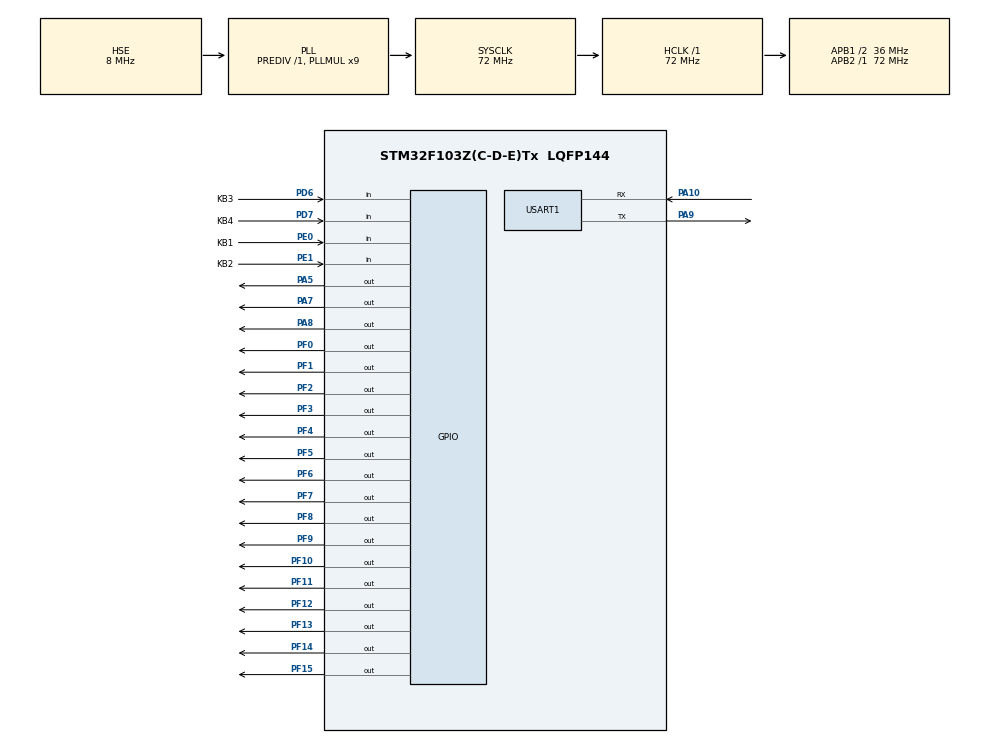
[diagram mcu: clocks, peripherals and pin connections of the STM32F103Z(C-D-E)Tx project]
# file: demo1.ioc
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Mcu.Family=STM32F1
Mcu.Name=STM32F103Z(C-D-E)Tx
Mcu.Package=LQFP144
NVIC.PriorityGroup=NVIC_PRIORITYGROUP_4
NVIC.TIM3_IRQn=true\:0\:0\:false\:false\:true\:true\:true\:true
NVIC.USART1_IRQn=true\:0\:0\:false\:false\:true\:true\:true\:true
OSC_IN.Mode=HSE-External-Oscillator
OSC_IN.Signal=RCC_OSC_IN
OSC_OUT.Mode=HSE-External-Oscillator
OSC_OUT.Signal=RCC_OSC_OUT
PA10.Mode=Asynchronous
PA10.Signal=USART1_RX
PA13.Mode=Serial_Wire
PA13.Signal=SYS_JTMS-SWDIO
PA14.Mode=Serial_Wire
PA14.Signal=SYS_JTCK-SWCLK
PA5.Signal=GPIO_Output
PA7.Signal=GPIO_Output
PA8.Signal=GPIO_Output
PA9.Mode=Asynchronous
PA9.Signal=USART1_TX
PD6.GPIO_Label=KB3
PD6.GPIO_PuPd=GPIO_PULLUP
PD6.Signal=GPIO_Input
PD7.GPIO_Label=KB4
PD7.GPIO_PuPd=GPIO_PULLUP
PD7.Signal=GPIO_Input
PE0.GPIO_Label=KB1
PE0.GPIO_PuPd=GPIO_PULLUP
PE0.Signal=GPIO_Input
PE1.GPIO_Label=KB2
PE1.GPIO_PuPd=GPIO_PULLUP
PE1.Signal=GPIO_Input
PF0.Signal=GPIO_Output
PF1.Signal=GPIO_Output
PF10.Signal=GPIO_Output
PF11.Signal=GPIO_Output
PF12.Signal=GPIO_Output
PF13.Signal=GPIO_Output
PF14.Signal=GPIO_Output
PF15.Signal=GPIO_Output
PF2.Signal=GPIO_Output
PF3.Signal=GPIO_Output
PF4.Signal=GPIO_Output
PF5.Signal=GPIO_Output
PF6.Signal=GPIO_Output
PF7.Signal=GPIO_Output
PF8.Signal=GPIO_Output
PF9.Signal=GPIO_Output
ProjectManager.HeapSize=0x200
ProjectManager.StackSize=0x400
ProjectManager.TargetToolchain=MDK-ARM V5.32
RCC.AHBFreq_Value=72000000
RCC.APB1CLKDivider=RCC_HCLK_DIV2
RCC.APB1Freq_Value=36000000
RCC.APB1TimFreq_Value=72000000
RCC.APB2Freq_Value=72000000
RCC.APB2TimFreq_Value=72000000
RCC.HCLKFreq_Value=72000000
RCC.PLLMUL=RCC_PLL_MUL9
RCC.PLLSourceVirtual=RCC_PLLSOURCE_HSE
RCC.SYSCLKFreq_VALUE=72000000
RCC.SYSCLKSource=RCC_SYSCLKSOURCE_PLLCLK
RCC.USBFreq_Value=72000000
TIM3.Period=10-1
TIM3.Prescaler=7200-1
USART1.VirtualMode=VM_ASYNC
VP_TIM3_VS_ClockSourceINT.Mode=Internal
board=custom

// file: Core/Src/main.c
/* USER CODE BEGIN Header */
/**
  ******************************************************************************
  * @file           : main.c
  * @brief          : Main program body
  ******************************************************************************
  * @attention
  *
  * Copyright (c) 2025 STMicroelectronics.
  * All rights reserved.
  *
  * This software is licensed under terms that can be found in the LICENSE file
  * in the root directory of this software component.
  * If no LICENSE file comes with this software, it is provided AS-IS.
  *
  ******************************************************************************
  */
/* USER CODE END Header */
#include "main.h"
#include "tim.h"
#include "usart.h"
#include "gpio.h"

/* USER CODE BEGIN Includes */
#include "Init_hardware.h"
/* USER CODE END Includes */

/* USER CODE BEGIN PV */
/*数码管*/
volatile uint8_t  seg_buf[] = {0x00,0x00,0x00,0x00,0x00,0x00,0x00,0x00,0x00}; //BUF:SEG_DISP
volatile uint8_t seg_pos ;
/*串口数组*/
uint8_t receiveData[] = {0x00,0x00,0x00,0x00,0x00,0x00,0x00,0x00,0x00,0x00};
uint8_t transmitData[] = {0x00,0x00,0x00,0x00,0x00,0x00,0x00,0x00,0x00,0x00};

/*闪烁灯*/
uint8_t led0 = 0;
/*时间计时*/
uint16_t time_count = 0 ;
volatile uint8_t hours = 12;    // 初始值12:00:00
volatile uint8_t minutes = 0;
volatile uint8_t seconds = 0;
volatile uint8_t update_display = 0; // 标志位，用于触发数码管更新

/*延时*/
volatile uint16_t seg_flag = 1;
volatile uint16_t key_flag = 1;
volatile uint16_t delay_1000ms = 1;
/*key*/
//key
volatile uint8_t key_value , key_up , key_down , key_old;

/* USER CODE END PV */

void SystemClock_Config(void);
/* USER CODE BEGIN PFP */
void Led_process();
void Seg_process();
void Key_process();
/* USER CODE END PFP */

/* USER CODE BEGIN 0 */
void HAL_TIM_PeriodElapsedCallback(TIM_HandleTypeDef *htim){
	//定时器3
	if(htim == &htim3){
		/*延时*/
		//1s时间
		delay_1000ms++ ;
		if(delay_1000ms >= 1000){
			delay_1000ms = 0 ;
			Led_process();
		}
		//Seg  10ms
		if(seg_flag++ >= 100){
			seg_flag = 0;
			Seg_process();
		}
		if(key_flag++ >= 100){
			key_flag = 0;
			Key_process();
		}

		//1ms
		seg_pos++;
		if(seg_pos == 9) seg_pos = 1;
		Seg_disp(seg_buf[seg_pos], seg_pos);

	}
}

void Seg_process(){
	// 更新数码管缓冲区

	seg_buf[1] = Seg_Table[hours / 10];    // 小时的十位
	seg_buf[2] = Seg_Table[hours % 10];    // 小时的个位
	seg_buf[3] = 0x40;                     // 横杠"-"
	seg_buf[4] = Seg_Table[minutes / 10];  // 分钟的十位
	seg_buf[5] = Seg_Table[minutes % 10];  // 分钟的个位
	seg_buf[6] = 0x40;                     // 横杠"-"
	seg_buf[7] = Seg_Table[seconds / 10]; // 秒的十位
	seg_buf[8] = Seg_Table[seconds % 10];  // 秒的个位

}

void Key_process(){

	//读取
	key_value = key_read();
	key_down	= key_value&(key_value ^ key_old);
	key_up	  = ~key_value&(key_value ^ key_old);
	key_old 	= key_value;

	//判断key
	switch(key_value){
		//KB1
		case 1:
			hours++;
			if(hours >= 13) hours = 0;
			break;
		//KB2
		case 2:
			minutes++;
			if(minutes >= 60){hours++; minutes = 0;}
			break;
		//KB3
		case 3:
			seconds++;
			if(seconds >= 60){minutes++ ; seconds = 0;}
			break;

	}
}

void Led_process(){

			led0 = 1 - led0;
			HAL_GPIO_WritePin(GPIOF,GPIO_PIN_0,led0);

      seconds++;
      if (seconds >= 60) {
				seconds = 0;
				minutes++;
        if (minutes >= 60) {
					minutes = 0;
          hours++;
          if (hours > 12) {
						hours = 1; // 12小时制，超过12后回到1
          }
        }
      }

}
/* USER CODE END 0 */

int main(void)
{

  /* MCU Configuration--------------------------------------------------------*/

  /* Reset of all peripherals, Initializes the Flash interface and the Systick. */
  HAL_Init();

  /* Configure the system clock */
  SystemClock_Config();

  /* Initialize all configured peripherals */
  MX_GPIO_Init();
  MX_TIM3_Init();
  MX_USART1_UART_Init();
  /* USER CODE BEGIN 2 */
	HAL_TIM_Base_Start_IT(&htim3);
  /* USER CODE END 2 */

  /* Infinite loop */
  /* USER CODE BEGIN WHILE */

	/*数码管初始化*/
	seg_buf[1] = Seg_Table[1];
	seg_buf[2] = Seg_Table[2];
	seg_buf[3] = 0x40;
	seg_buf[4] = Seg_Table[0];
	seg_buf[5] = Seg_Table[0];
	seg_buf[6] = 0x40;
	seg_buf[7] = Seg_Table[0];
	seg_buf[8] = Seg_Table[0];
  while (1)
  {
    /* USER CODE END WHILE */

  }
}

void SystemClock_Config(void)
{
  RCC_OscInitTypeDef RCC_OscInitStruct = {0};
  RCC_ClkInitTypeDef RCC_ClkInitStruct = {0};

  /** Initializes the RCC Oscillators according to the specified parameters
  * in the RCC_OscInitTypeDef structure.
  */
  RCC_OscInitStruct.OscillatorType = RCC_OSCILLATORTYPE_HSE;
  RCC_OscInitStruct.HSEState = RCC_HSE_ON;
  RCC_OscInitStruct.HSEPredivValue = RCC_HSE_PREDIV_DIV1;
  RCC_OscInitStruct.HSIState = RCC_HSI_ON;
  RCC_OscInitStruct.PLL.PLLState = RCC_PLL_ON;
  RCC_OscInitStruct.PLL.PLLSource = RCC_PLLSOURCE_HSE;
  RCC_OscInitStruct.PLL.PLLMUL = RCC_PLL_MUL9;
  if (HAL_RCC_OscConfig(&RCC_OscInitStruct) != HAL_OK)
  {
    Error_Handler();
  }

  /** Initializes the CPU, AHB and APB buses clocks
  */
  RCC_ClkInitStruct.ClockType = RCC_CLOCKTYPE_HCLK|RCC_CLOCKTYPE_SYSCLK
                              |RCC_CLOCKTYPE_PCLK1|RCC_CLOCKTYPE_PCLK2;
  RCC_ClkInitStruct.SYSCLKSource = RCC_SYSCLKSOURCE_PLLCLK;
  RCC_ClkInitStruct.AHBCLKDivider = RCC_SYSCLK_DIV1;
  RCC_ClkInitStruct.APB1CLKDivider = RCC_HCLK_DIV2;
  RCC_ClkInitStruct.APB2CLKDivider = RCC_HCLK_DIV1;

  if (HAL_RCC_ClockConfig(&RCC_ClkInitStruct, FLASH_LATENCY_2) != HAL_OK)
  {
    Error_Handler();
  }
}

void Error_Handler(void)
{
  __disable_irq();
  while (1)
  {
  }
}
